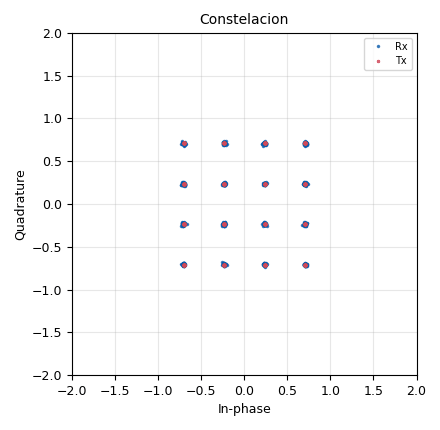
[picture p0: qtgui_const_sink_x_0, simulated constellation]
<?xml version='1.0' encoding='utf-8'?>
<?grc format='1' created='3.7.9'?>
<flow_graph>
<block>
<key>options</key>
<param><key>id</key><value>ser_simulation</value></param>
<param><key>author</key><value>Homero Ortega Boada</value></param>
<param><key>category</key><value>Custom</value></param>
<param><key>description</key><value>dale un valor a Eb/No, corre el flujograma y obten la SER. Puedes sacar tantos valores como para construir una curva de SER</value></param>
<param><key>generate_options</key><value>qt_gui</value></param>
<param><key>run</key><value>run_stop</value></param>
<param><key>title</key><value>SER Simulation</value></param>
</block>
<block>
<key>variable</key>
<param><key>id</key><value>Bps</value></param>
<param><key>value</key><value>int(math.log(M,2))</value></param>
</block>
<block>
<key>variable</key>
<param><key>id</key><value>EbN0</value></param>
<param><key>value</key><value>28</value></param>
</block>
<block>
<key>variable</key>
<param><key>id</key><value>M</value></param>
<param><key>value</key><value>len(const)</value></param>
</block>
<block>
<key>variable</key>
<param><key>id</key><value>MaxCount</value></param>
<param><key>value</key><value>int(1e7)</value></param>
</block>
<block>
<key>variable</key>
<param><key>id</key><value>MaxErrors</value></param>
<param><key>value</key><value>1e3</value></param>
</block>
<block>
<key>variable_constellation</key>
<param><key>id</key><value>MiconstellationObject</value></param>
<param><key>const_points</key><value>const</value></param>
<param><key>dims</key><value>1</value></param>
<param><key>rot_sym</key><value>4</value></param>
<param><key>precision</key><value>8</value></param>
<param><key>sym_map</key><value></value></param>
</block>
<block>
<key>variable</key>
<param><key>id</key><value>Rb</value></param>
<param><key>value</key><value>Rs*Bps</value></param>
</block>
<block>
<key>variable</key>
<param><key>id</key><value>Rs</value></param>
<param><key>value</key><value>samp_rate/Sps</value></param>
</block>
<block>
<key>variable</key>
<param><key>id</key><value>Sps</value></param>
<param><key>value</key><value>16</value></param>
</block>
<block>
<key>variable</key>
<param><key>id</key><value>const</value></param>
<param><key>_enabled</key><value>0</value></param>
<param><key>value</key><value>(digital.constellation_bpsk(), digital.constellation_qpsk(), digital.constellation_8psk(), digital.qam.qam_constellation(16))</value></param>
</block>
<block>
<key>variable</key>
<param><key>id</key><value>const</value></param>
<param><key>_enabled</key><value>0</value></param>
<param><key>value</key><value>[(1.+0.j),(0.+1.j),(-1.+0.j),(0.-1.j)]</value></param>
</block>
<block>
<key>variable</key>
<param><key>id</key><value>const</value></param>
<param><key>value</key><value>[(1+1.j)/4.24,(3+1.j)/4.24,(3+3.j)/4.24,(1+3.j)/4.24,(-1+1.j)/4.24,(-3+1.j)/4.24,(-3+3.j)/4.24,(-1+3.j)/4.24,(-1-1.j)/4.24,(-3-1.j)/4.24,(-3-3.j)/4.24,(-1-3.j)/4.24,(1-1.j)/4.24,(3-1.j)/4.24,(3-3.j)/4.24,(1-3.j)/4.24]</value></param>
</block>
<block>
<key>variable</key>
<param><key>id</key><value>const</value></param>
<param><key>_enabled</key><value>0</value></param>
<param><key>value</key><value>[(1.+0.j),(0.7071+0.7071j),(0.+1.j),(-0.7071+0.7071j),(-1.+0.j),(-0.7071-0.7071j),(0.-1.j),(0.7071-0.7071j)]</value></param>
</block>
<block>
<key>variable_qtgui_check_box</key>
<param><key>id</key><value>run_stop</value></param>
<param><key>value</key><value>True</value></param>
<param><key>false</key><value>False</value></param>
<param><key>gui_hint</key><value>0,0,1,1</value></param>
<param><key>label</key><value>Inicial/Parar</value></param>
<param><key>true</key><value>True</value></param>
<param><key>type</key><value>int</value></param>
</block>
<block>
<key>variable</key>
<param><key>id</key><value>samp_rate</value></param>
<param><key>value</key><value>100e3</value></param>
</block>
<block>
<key>epy_block</key>
<param><key>id</key><value>BER</value></param>
<param><key>_source_code</key><value>import numpy as np
from gnuradio import gr

###########################################################################
##       lo de arriba era puro encabezado. Aqui comienza la clase        ##
###########################################################################
class mi_bloque_embebido(gr.sync_block):

    """
Este es el codigo embebido del bloque e_Symbol Rate
Hecho por: Homero Ortega Boada
Profesor de la Universidad Industrial de Santander

Funcionalidad:
Las entradas: son dos, para la senal transmitida y la recibida.

Salidas: 
out0: Entrega el numero de simbolos tenidos en cuenta
out1: Entrega el numero de errores identificado
out2: Entrega la SER (Symbol Error Ratio).
  
Es importante tener en cuenta que: 
- si en vez de tener simbolos a la entrada, se tienen bits, entonces lo que se calcula es la BER (Bit Error Ratio)

Parametros usados:
Nbmax: es el maximo numero de bits transmitidos a tener en cuenta para el calculo. Este numero depende de la resolucion que se pretenda alcanzar en la medicion. Si por ejemplo tu deseas que la BER llegue a valores tan pequenos como 1e-6, entonces debera elegir Nbmax=1e+6
Error Max: Es el numero maximo de errores a tener en cuenta. Este numero depende del grado de exactitud que se desee lograr, del grado de estabilidad que alcanza el calculo de la BER o la SER. Un buen valor puede ser Errors=100 o mas. La idea es que el sistema dejara de realizar calculos cuando el contador de simbolos procesados alcanza Nbmax o cuando el contador de simbolos erroneos alcanza Error_max
"""

    def __init__(self, Sym_max=1e6,Errors_max=1e4):  # only default arguments here
        gr.sync_block.__init__(
            self,
            name='e_Symbol Rate',
            in_sig=[np.int8,np.int8],
            out_sig=[np.float32,np.float32,np.float32]
        )
        self.Sym_max = Sym_max
        self.Errors_max=Errors_max
        self.errores = 0.
        self.count=0.
        self.BER=1.

    ###########################################################################
    ##  lo de arriba era puro iniciacion. Aqui comienza el verdadero codigo  ##
    ###########################################################################
    def work(self, input_items, output_items):
        in0=input_items[0]
        in1=input_items[1]
        out0=output_items[0]
        out1=output_items[1]
        out2=output_items[2]
        if self.errores&lt;self.Errors_max:
            if self.count &lt; self.Sym_max:
                self.count += len(in0)
                self.errores += np.count_nonzero(in0-in1)
                self.BER=self.errores/self.count
        out2[:]=self.BER
        out1[:]=self.errores
        out0[:]=self.count
        return len(output_items[0])
</value></param>
<param><key>Errors_max</key><value>MaxErrors</value></param>
<param><key>Sym_max</key><value>MaxCount</value></param>
</block>
<block>
<key>analog_const_source_x</key>
<param><key>id</key><value>analog_const_source_x_0</value></param>
<param><key>const</key><value>EbN0</value></param>
<param><key>type</key><value>float</value></param>
</block>
<block>
<key>analog_noise_source_x</key>
<param><key>id</key><value>analog_noise_source_x</value></param>
<param><key>amp</key><value>1.0 / math.sqrt(2.0 * Bps * 10**(EbN0/10.))</value></param>
<param><key>noise_type</key><value>analog.GR_GAUSSIAN</value></param>
<param><key>type</key><value>complex</value></param>
<param><key>seed</key><value>42</value></param>
</block>
<block>
<key>analog_random_source_x</key>
<param><key>id</key><value>analog_random_source_x</value></param>
<param><key>max</key><value>M</value></param>
<param><key>min</key><value>0</value></param>
<param><key>num_samps</key><value>10000000</value></param>
<param><key>type</key><value>byte</value></param>
<param><key>repeat</key><value>True</value></param>
</block>
<block>
<key>blocks_add_xx</key>
<param><key>id</key><value>blocks_add_xx</value></param>
<param><key>type</key><value>complex</value></param>
</block>
<block>
<key>blocks_nlog10_ff</key>
<param><key>id</key><value>blocks_nlog10_ff_0</value></param>
<param><key>k</key><value>0</value></param>
</block>
<block>
<key>blocks_throttle</key>
<param><key>id</key><value>blocks_throttle</value></param>
<param><key>samples_per_second</key><value>samp_rate</value></param>
<param><key>type</key><value>byte</value></param>
</block>
<block>
<key>digital_chunks_to_symbols_xx</key>
<param><key>id</key><value>digital_chunks_to_symbols_xx</value></param>
<param><key>dimension</key><value>1</value></param>
<param><key>in_type</key><value>byte</value></param>
<param><key>out_type</key><value>complex</value></param>
<param><key>symbol_table</key><value>const</value></param>
</block>
<block>
<key>digital_constellation_decoder_cb</key>
<param><key>id</key><value>digital_constellation_decoder_cb_0</value></param>
<param><key>constellation</key><value>MiconstellationObject</value></param>
</block>
<block>
<key>import</key>
<param><key>id</key><value>import</value></param>
<param><key>import</key><value>import math</value></param>
</block>
<block>
<key>qtgui_const_sink_x</key>
<param><key>id</key><value>qtgui_const_sink_x_0</value></param>
<param><key>gui_hint</key><value>1,2,1,1</value></param>
<param><key>alpha1</key><value>0.6</value></param>
<param><key>label1</key><value>Rx</value></param>
<param><key>label2</key><value>Tx</value></param>
<param><key>name</key><value>"Constelacion"</value></param>
<param><key>nconnections</key><value>2</value></param>
<param><key>size</key><value>1024</value></param>
<param><key>type</key><value>complex</value></param>
</block>
<block>
<key>qtgui_number_sink</key>
<param><key>id</key><value>qtgui_number_sink_0_0_0</value></param>
<param><key>autoscale</key><value>True</value></param>
<param><key>gui_hint</key><value>0,2,1,1</value></param>
<param><key>graph_type</key><value>qtgui.NUM_GRAPH_NONE</value></param>
<param><key>type</key><value>float</value></param>
<param><key>label1</key><value>SER</value></param>
<param><key>color2</key><value>("blue", "red")</value></param>
<param><key>label2</key><value>log10(SER)</value></param>
<param><key>max</key><value>MaxCount</value></param>
<param><key>min</key><value>0</value></param>
<param><key>nconnections</key><value>2</value></param>
</block>
<block>
<key>qtgui_number_sink</key>
<param><key>id</key><value>qtgui_number_sink_0_0_0_0</value></param>
<param><key>autoscale</key><value>True</value></param>
<param><key>gui_hint</key><value>1,0,1,1</value></param>
<param><key>graph_type</key><value>qtgui.NUM_GRAPH_VERT</value></param>
<param><key>type</key><value>float</value></param>
<param><key>label1</key><value>Simbolos Procesados</value></param>
<param><key>max</key><value>MaxCount</value></param>
<param><key>min</key><value>0</value></param>
</block>
<block>
<key>qtgui_number_sink</key>
<param><key>id</key><value>qtgui_number_sink_0_0_0_0_0</value></param>
<param><key>autoscale</key><value>True</value></param>
<param><key>gui_hint</key><value>1,1,1,1</value></param>
<param><key>graph_type</key><value>qtgui.NUM_GRAPH_VERT</value></param>
<param><key>type</key><value>float</value></param>
<param><key>label1</key><value>Errores encontrados</value></param>
<param><key>max</key><value>MaxErrors</value></param>
<param><key>min</key><value>0</value></param>
</block>
<block>
<key>qtgui_number_sink</key>
<param><key>id</key><value>qtgui_number_sink_0_0_0_0_1</value></param>
<param><key>autoscale</key><value>True</value></param>
<param><key>gui_hint</key><value>0,1,1,1</value></param>
<param><key>graph_type</key><value>qtgui.NUM_GRAPH_NONE</value></param>
<param><key>type</key><value>float</value></param>
<param><key>label1</key><value>Eb/No(dB)</value></param>
<param><key>max</key><value>MaxCount</value></param>
<param><key>min</key><value>0</value></param>
</block>
<block>
<key>virtual_sink</key>
<param><key>id</key><value>vs0</value></param>
<param><key>stream_id</key><value>TX1</value></param>
</block>
<block>
<key>virtual_sink</key>
<param><key>id</key><value>vs1</value></param>
<param><key>stream_id</key><value>RX1</value></param>
</block>
<block>
<key>virtual_source</key>
<param><key>id</key><value>vs2</value></param>
<param><key>stream_id</key><value>TX1</value></param>
</block>
<block>
<key>virtual_source</key>
<param><key>id</key><value>vs3</value></param>
<param><key>stream_id</key><value>RX1</value></param>
</block>
<block>
<key>virtual_sink</key>
<param><key>id</key><value>vs4</value></param>
<param><key>stream_id</key><value>TX2</value></param>
</block>
<block>
<key>virtual_sink</key>
<param><key>id</key><value>vs5</value></param>
<param><key>stream_id</key><value>RX2</value></param>
</block>
<block>
<key>virtual_source</key>
<param><key>id</key><value>vs6</value></param>
<param><key>stream_id</key><value>RX2</value></param>
</block>
<block>
<key>virtual_source</key>
<param><key>id</key><value>vs6_0</value></param>
<param><key>stream_id</key><value>TX2</value></param>
</block>
<connection><source_block_id>BER</source_block_id><sink_block_id>qtgui_number_sink_0_0_0_0</sink_block_id><source_key>0</source_key><sink_key>0</sink_key></connection>
<connection><source_block_id>BER</source_block_id><sink_block_id>qtgui_number_sink_0_0_0_0_0</sink_block_id><source_key>1</source_key><sink_key>0</sink_key></connection>
<connection><source_block_id>BER</source_block_id><sink_block_id>blocks_nlog10_ff_0</sink_block_id><source_key>2</source_key><sink_key>0</sink_key></connection>
<connection><source_block_id>BER</source_block_id><sink_block_id>qtgui_number_sink_0_0_0</sink_block_id><source_key>2</source_key><sink_key>0</sink_key></connection>
<connection><source_block_id>analog_const_source_x_0</source_block_id><sink_block_id>qtgui_number_sink_0_0_0_0_1</sink_block_id><source_key>0</source_key><sink_key>0</sink_key></connection>
<connection><source_block_id>analog_noise_source_x</source_block_id><sink_block_id>blocks_add_xx</sink_block_id><source_key>0</source_key><sink_key>1</sink_key></connection>
<connection><source_block_id>analog_random_source_x</source_block_id><sink_block_id>blocks_throttle</sink_block_id><source_key>0</source_key><sink_key>0</sink_key></connection>
<connection><source_block_id>blocks_add_xx</source_block_id><sink_block_id>digital_constellation_decoder_cb_0</sink_block_id><source_key>0</source_key><sink_key>0</sink_key></connection>
<connection><source_block_id>blocks_add_xx</source_block_id><sink_block_id>vs5</sink_block_id><source_key>0</source_key><sink_key>0</sink_key></connection>
<connection><source_block_id>blocks_nlog10_ff_0</source_block_id><sink_block_id>qtgui_number_sink_0_0_0</sink_block_id><source_key>0</source_key><sink_key>1</sink_key></connection>
<connection><source_block_id>blocks_throttle</source_block_id><sink_block_id>digital_chunks_to_symbols_xx</sink_block_id><source_key>0</source_key><sink_key>0</sink_key></connection>
<connection><source_block_id>blocks_throttle</source_block_id><sink_block_id>vs0</sink_block_id><source_key>0</source_key><sink_key>0</sink_key></connection>
<connection><source_block_id>digital_chunks_to_symbols_xx</source_block_id><sink_block_id>blocks_add_xx</sink_block_id><source_key>0</source_key><sink_key>0</sink_key></connection>
<connection><source_block_id>digital_chunks_to_symbols_xx</source_block_id><sink_block_id>vs4</sink_block_id><source_key>0</source_key><sink_key>0</sink_key></connection>
<connection><source_block_id>digital_constellation_decoder_cb_0</source_block_id><sink_block_id>vs1</sink_block_id><source_key>0</source_key><sink_key>0</sink_key></connection>
<connection><source_block_id>vs2</source_block_id><sink_block_id>BER</sink_block_id><source_key>0</source_key><sink_key>0</sink_key></connection>
<connection><source_block_id>vs3</source_block_id><sink_block_id>BER</sink_block_id><source_key>0</source_key><sink_key>1</sink_key></connection>
<connection><source_block_id>vs6</source_block_id><sink_block_id>qtgui_const_sink_x_0</sink_block_id><source_key>0</source_key><sink_key>0</sink_key></connection>
<connection><source_block_id>vs6_0</source_block_id><sink_block_id>qtgui_const_sink_x_0</sink_block_id><source_key>0</source_key><sink_key>1</sink_key></connection>
</flow_graph>
